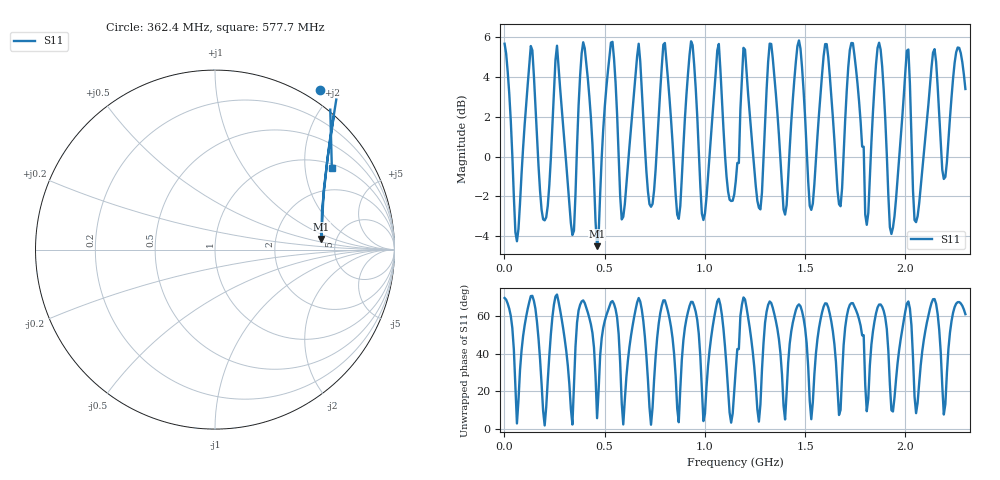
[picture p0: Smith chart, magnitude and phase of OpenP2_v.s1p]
# Hz S RI R 50.000000
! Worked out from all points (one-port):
!   300 points, 1 MHz to 2.3 GHz, reference 50 ohm
!   lowest |S11| = -4.5 dB at 462.3 MHz (marker M1), VSWR 3.95, Z = 190 + j35.3 ohm
!   |S11| at or under -10 dB: nowhere
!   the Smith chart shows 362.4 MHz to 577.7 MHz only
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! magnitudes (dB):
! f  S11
! 1 MHz  5.7
! 62.51 MHz  -4.2
! 131.7 MHz  5.6
! 193.2 MHz  -3.1
! 293.2 MHz  1.5
! 347 MHz  -3.7
! 393.1 MHz  5.7
! 462.3 MHz  -4.5
! 531.5 MHz  5.7
! 577.7 MHz  -2.0
! 800.7 MHz  5.7
! 869.9 MHz  -3.1
! 931.4 MHz  5.8
! 992.9 MHz  -3.2
! 1.07 GHz  5.7
! 1.154 GHz  -1.2
! 1.439 GHz  2.9
! 1.531 GHz  -2.7
! 1.608 GHz  5.6
! 1.677 GHz  -2.5
! 1.731 GHz  5.7
! 1.808 GHz  -3.4
! 1.877 GHz  5.4
! 1.931 GHz  -3.9
! 2.016 GHz  5.4
! 2.054 GHz  -3.3
! 2.139 GHz  5.2
! 2.3 GHz  3.4
